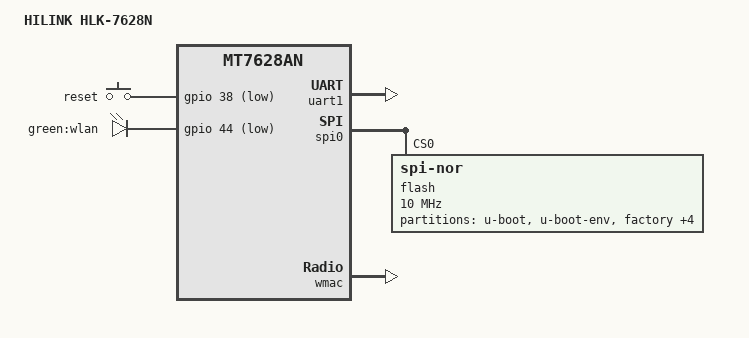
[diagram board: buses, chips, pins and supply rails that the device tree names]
// SPDX-License-Identifier: GPL-2.0-or-later OR MIT

#include "mt7628an.dtsi"

#include <dt-bindings/gpio/gpio.h>
#include <dt-bindings/input/input.h>

/ {
	compatible = "hilink,hlk-7628n", "mediatek,mt7628an-soc";
	model = "HILINK HLK-7628N";

	keys {
		compatible = "gpio-keys";

		reset {
			label = "reset";
			gpios = <&gpio 38 GPIO_ACTIVE_LOW>;
			linux,code = <KEY_RESTART>;
		};
	};

	leds {
		compatible = "gpio-leds";

		wlan {
			label = "green:wlan";
			gpios = <&gpio 44 GPIO_ACTIVE_LOW>;
		};
	};
};


&state_default {
	gpio {
		groups = "i2c";
		function = "gpio";
	};
};

&uart1 {
	status = "okay";
};

&spi0 {
	status = "okay";

	flash@0 {
		compatible = "jedec,spi-nor";
		reg = <0>;
		spi-max-frequency = <10000000>;
		broken-flash-reset;

		partitions {
			compatible = "fixed-partitions";
			#address-cells = <1>;
			#size-cells = <1>;

			partition@0 {
				label = "u-boot";
				reg = <0x0 0x30000>;
				read-only;
			};

			partition@30000 {
				label = "u-boot-env";
				reg = <0x30000 0x10000>;
			};

			factory: partition@40000 {
				label = "factory";
				reg = <0x40000 0x10000>;
				read-only;
			};

			partition@50000 {
				label = "kernel";
				reg = <0x50000 0x230000>;
			};

			partition@280000 {
				label = "rootfs-a";
				reg = <0x280000 0xc00000>;
			};

			partition@e80000 {
				label = "rootfs-b";
				reg = <0xe80000 0xc00000>;
			};

			partition@1a80000 {
				label = "application";
				reg = <0x1a80000 0x580000>;
			};
		};
	};
};

&ethernet {
	mtd-mac-address = <&factory 0x28>;
};

&wmac {
	status = "okay";
};
